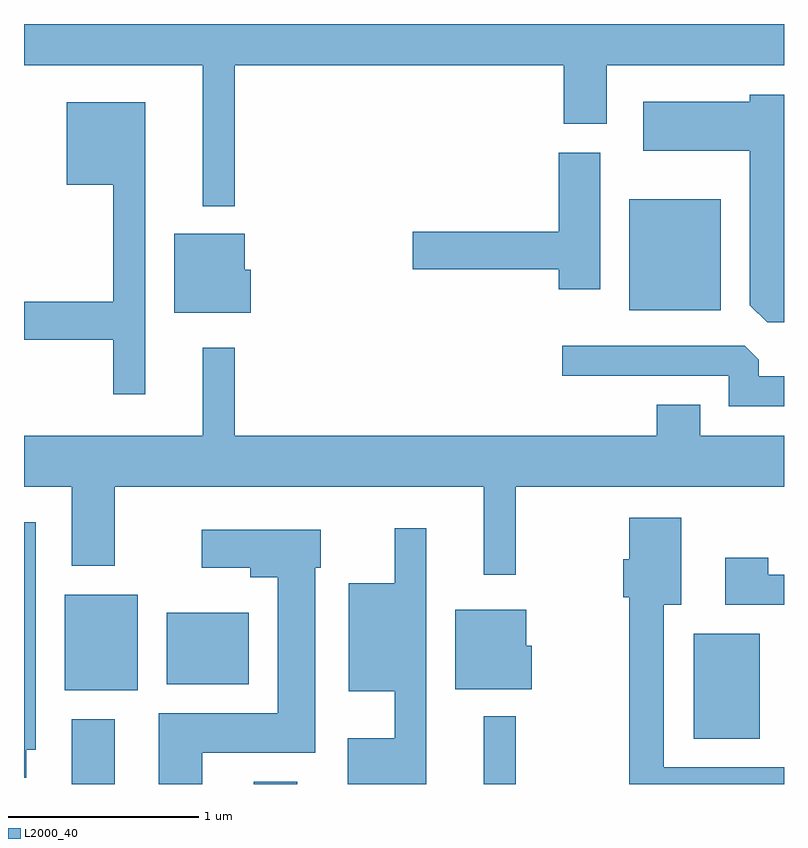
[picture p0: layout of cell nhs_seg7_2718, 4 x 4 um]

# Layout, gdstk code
import gdstk
lib = gdstk.Library(unit=1e-6, precision=1e-09)
def R(c, l, rs):  # rectangles x0, y0, x1, y1
    for r in rs: c.add(gdstk.rectangle(r[:2], r[2:], *l))
def P(c, l, *ps):  # polygons
    for p in ps: c.add(gdstk.Polygon(p, *l))
L2000_40 = (2000, 40)

nhs_seg7_2718 = lib.new_cell('nhs_seg7_2718')
R(nhs_seg7_2718, L2000_40, [(267.861,1768.252,268.089,1768.594), (268.821,1768.252,269.049,1768.264), (270.031,1768.252,270.199,1768.608), (271.136,1768.491,271.484,1769.044), (267.826,1768.746,268.209,1769.249), (268.361,1768.776,268.794,1769.154), (270.796,1770.746,271.279,1771.329)])
P(nhs_seg7_2718, L2000_40, [(268.719,1772.036),(270.451,1772.036),(270.451,1771.726),(270.679,1771.726),(270.679,1772.036),(271.611,1772.036),(271.611,1772.252),(267.611,1772.252),(267.611,1772.036),(268.551,1772.036),(268.551,1771.293),(268.719,1771.293)],
  [(271.611,1771.879),(271.431,1771.879),(271.431,1771.844),(270.871,1771.844),(270.871,1771.586),(271.431,1771.586),(271.431,1770.772),(271.522,1770.681),(271.611,1770.681)],
  [(268.249,1771.839),(267.836,1771.839),(267.836,1771.406),(268.081,1771.406),(268.081,1770.789),(267.611,1770.789),(267.611,1770.591),(268.081,1770.591),(268.081,1770.303),(268.249,1770.303)],
  [(270.644,1771.574),(270.426,1771.574),(270.426,1771.159),(269.656,1771.159),(269.656,1770.961),(270.426,1770.961),(270.426,1770.856),(270.644,1770.856)],
  [(268.804,1770.959),(268.774,1770.959),(268.774,1771.149),(268.401,1771.149),(268.401,1770.731),(268.804,1770.731)],
  [(271.611,1770.399),(271.479,1770.399),(271.479,1770.484),(271.404,1770.559),(270.443,1770.559),(270.443,1770.401),(271.321,1770.401),(271.321,1770.241),(271.611,1770.241)],
  [(270.199,1769.816),(271.611,1769.816),(271.611,1770.084),(271.169,1770.084),(271.169,1770.249),(270.941,1770.249),(270.941,1770.084),(268.719,1770.084),(268.719,1770.548),(268.551,1770.548),(268.551,1770.084),(267.611,1770.084),(267.611,1769.816),(267.861,1769.816),(267.861,1769.401),(268.089,1769.401),(268.089,1769.816),(270.031,1769.816),(270.031,1769.353),(270.199,1769.353)],
  [(271.611,1768.339),(270.979,1768.339),(270.979,1769.196),(271.069,1769.196),(271.069,1769.654),(270.796,1769.654),(270.796,1769.434),(270.766,1769.434),(270.766,1769.236),(270.796,1769.236),(270.796,1768.252),(271.611,1768.252)],
  [(267.624,1768.431),(267.674,1768.431),(267.674,1769.629),(267.611,1769.629),(267.611,1768.286),(267.624,1768.286)],
  [(269.729,1769.598),(269.561,1769.598),(269.561,1769.309),(269.321,1769.309),(269.321,1768.741),(269.561,1768.741),(269.561,1768.494),(269.316,1768.494),(269.316,1768.252),(269.729,1768.252)],
  [(268.549,1768.416),(269.144,1768.416),(269.144,1769.391),(269.174,1769.391),(269.174,1769.589),(268.546,1769.589),(268.546,1769.391),(268.801,1769.391),(268.801,1769.341),(268.946,1769.341),(268.946,1768.624),(268.321,1768.624),(268.321,1768.252),(268.549,1768.252)],
  [(271.611,1769.354),(271.529,1769.354),(271.529,1769.444),(271.301,1769.444),(271.301,1769.196),(271.611,1769.196)],
  [(270.284,1768.979),(270.254,1768.979),(270.254,1769.169),(269.881,1769.169),(269.881,1768.751),(270.284,1768.751)])

lib.write_gds('nhs_seg7_2718.gds')
